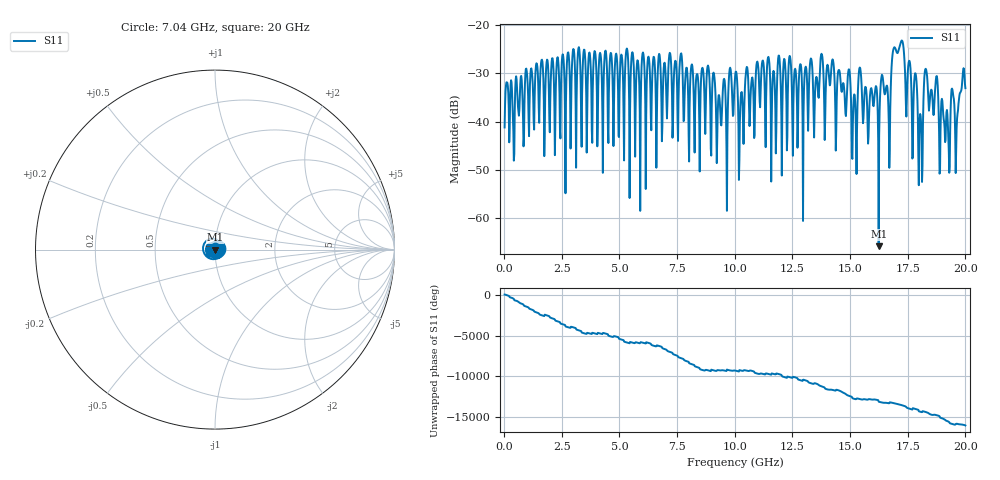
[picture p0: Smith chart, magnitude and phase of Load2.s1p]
! File created by SignalIntegrity v1.1.10: Signal and Power Integrity Tools
! https://github.com/TeledyneLeCroy/SignalIntegrity
# MHz S MA R 50.0
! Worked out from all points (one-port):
!   1000 points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, 20 MHz to 20 GHz, reference 50 ohm
!   lowest |S11| = -65.8 dB at 16.24 GHz (marker M1), VSWR 1.00, Z = 50 - j0.0365 ohm
!   |S11| at or under -10 dB: start of sweep to end of sweep
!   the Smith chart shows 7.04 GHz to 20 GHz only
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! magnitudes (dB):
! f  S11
! 20 MHz  -41.2
! 2.52 GHz  -26.4
! 5.02 GHz  -30.1
! 7.52 GHz  -39.5
! 8.84 GHz  -28.4
! 9.3 GHz  -34.6
! 10.02 GHz  -30.3
! 10.28 GHz  -34.0
! 10.52 GHz  -28.7
! 12.52 GHz  -47.1
! 13.3 GHz  -26.9
! 13.52 GHz  -31.1
! 13.76 GHz  -26.0
! 15.02 GHz  -32.7
! 15.18 GHz  -34.4
! 15.42 GHz  -28.8
! 16.24 GHz  -65.8
! 16.4 GHz  -30.5
! 16.7 GHz  -49.6
! 16.92 GHz  -24.6
! 17.24 GHz  -23.2
! 17.52 GHz  -28.5
! 17.84 GHz  -30.0
! 18.06 GHz  -38.9
! 18.28 GHz  -29.1
! 19.22 GHz  -38.6
! 19.44 GHz  -33.4
! 20 GHz  -33.1
